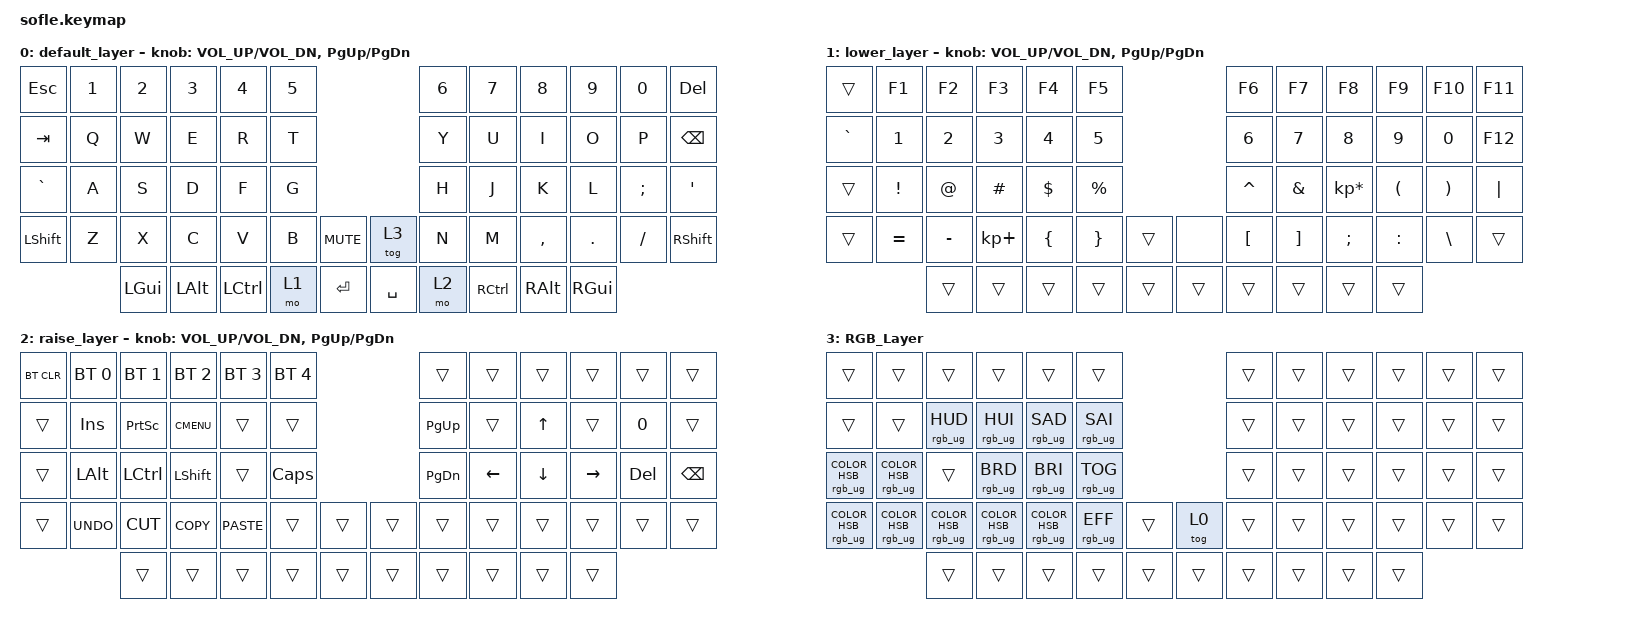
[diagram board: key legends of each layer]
/*
 * Copyright (c) 2020 The ZMK Contributors
 *
 * SPDX-License-Identifier: MIT
 */

#include <behaviors.dtsi>
#include <dt-bindings/zmk/bt.h>
#include <dt-bindings/zmk/keys.h>
#include <dt-bindings/zmk/rgb.h>

&led_strip { chain-length = <35>; };

&left_encoder { resolution = <2>; };

/ {
    keymap {
        compatible = "zmk,keymap";

        default_layer {
            // ------------------------------------------------------------------------------------------------------------
            // |  `    |  1  |  2  |  3   |  4   |  5   |                   |  6   |  7    |  8    |  9   |   0   |       |
            // |  ESC  |  Q  |  W  |  E   |  R   |  T   |                   |  Y   |  U    |  I    |  O   |   P   | BKSPC |
            // |  TAB  |  A  |  S  |  D   |  F   |  G   |                   |  H   |  J    |  K    |  L   |   ;   |   '   |
            // | SHIFT |  Z  |  X  |  C   |  V   |  B   |  MUTE  |  |       |  N   |  M    |  ,    |  .   |   /   | SHIFT |
            //               | GUI | ALT  | CTRL | LOWER|  ENTER |  | SPACE | RAISE| CTRL  | ALT   | GUI  |

            bindings = <
&kp ESC    &kp N1  &kp N2    &kp N3    &kp N4     &kp N5                           &kp N6  &kp N7     &kp N8     &kp N9    &kp N0    &kp DEL
&kp TAB    &kp Q   &kp W     &kp E     &kp R      &kp T                            &kp Y   &kp U      &kp I      &kp O     &kp P     &kp BSPC
&kp GRAVE  &kp A   &kp S     &kp D     &kp F      &kp G                            &kp H   &kp J      &kp K      &kp L     &kp SEMI  &kp SQT
&kp LSHFT  &kp Z   &kp X     &kp C     &kp V      &kp B   &kp C_MUTE    &tog 3     &kp N   &kp M      &kp COMMA  &kp DOT   &kp FSLH  &kp RSHFT
                   &kp LGUI  &kp LALT  &kp LCTRL  &mo 1   &kp RET       &kp SPACE  &mo 2   &kp RCTRL  &kp RALT   &kp RGUI
            >;

            sensor-bindings = <&inc_dec_kp C_VOL_UP C_VOL_DN &inc_dec_kp PG_UP PG_DN>;
        };

        lower_layer {
            // TODO: Some binds are waiting for shifted keycode support.
            // ------------------------------------------------------------------------------------------------------------
            // |       |  F1 |  F2 |  F3  |  F4  |  F5  |                   |  F6  |  F7   |  F8   |  F9  |  F10  |  F11  |
            // | `     |   1 |   2 |   3  |   4  |   5  |                   |   6  |   7   |   8   |   9  |    0  |  F12  |
            // |       |  !  |  @  |  #   |  $   |  %   |                   |  ^   |  &    |  *    |  (   |   )   |   |   |
            // |       |  =  |  -  |  +   |  {   |  }   |        |  |       |  [   |  ]    |  ;    |  :   |   \   |       |
            //               |     |      |      |      |        |  |       |      |       |       |      |

            bindings = <
&trans     &kp F1     &kp F2     &kp F3       &kp F4    &kp F5                       &kp F6     &kp F7    &kp F8           &kp F9     &kp F10   &kp F11
&kp GRAVE  &kp N1     &kp N2     &kp N3       &kp N4    &kp N5                       &kp N6     &kp N7    &kp N8           &kp N9     &kp N0    &kp F12
&trans     &kp EXCL   &kp AT     &kp HASH     &kp DLLR  &kp PRCNT                    &kp CARET  &kp AMPS  &kp KP_MULTIPLY  &kp LPAR   &kp RPAR  &kp PIPE
&trans     &kp EQUAL  &kp MINUS  &kp KP_PLUS  &kp LBRC  &kp RBRC   &trans    &none   &kp LBKT   &kp RBKT  &kp SEMI         &kp COLON  &kp BSLH  &trans
                      &trans     &trans       &trans    &trans     &trans    &trans  &trans     &trans    &trans           &trans
            >;

            sensor-bindings = <&inc_dec_kp C_VOL_UP C_VOL_DN &inc_dec_kp PG_UP PG_DN>;
        };

        raise_layer {
            // ------------------------------------------------------------------------------------------------------------
            // |BTCLR| BT1  | BT2  |  BT3  |  BT4  |  BT5 |                |      |      |       |      |       |       |
            // |     | INS  | PSCR | GUI   |       |      |                | PGUP |      |   ^   |      |       |       |
            // |     | ALT  | CTRL | SHIFT |       | CAPS |                | PGDN |   <- |   v   |  ->  |  DEL  | BKSPC |
            // |     | UNDO | CUT  | COPY  | PASTE |      |      |  |      |      |      |       |      |       |       |
            //              |      |       |       |      |      |  |      |      |      |       |      |

            bindings = <
&bt BT_CLR  &bt BT_SEL 0  &bt BT_SEL 1  &bt BT_SEL 2  &bt BT_SEL 3  &bt BT_SEL 4                    &trans     &trans    &trans    &trans     &trans   &trans
&trans      &kp INS       &kp PSCRN     &kp K_CMENU   &trans        &trans                          &kp PG_UP  &trans    &kp UP    &trans     &kp N0   &trans
&trans      &kp LALT      &kp LCTRL     &kp LSHFT     &trans        &kp CLCK                        &kp PG_DN  &kp LEFT  &kp DOWN  &kp RIGHT  &kp DEL  &kp BSPC
&trans      &kp K_UNDO    &kp K_CUT     &kp K_COPY    &kp K_PASTE   &trans        &trans    &trans  &trans     &trans    &trans    &trans     &trans   &trans
                          &trans        &trans        &trans        &trans        &trans    &trans  &trans     &trans    &trans    &trans
            >;

            sensor-bindings = <&inc_dec_kp C_VOL_UP C_VOL_DN &inc_dec_kp PG_UP PG_DN>;
        };

        RGB_Layer {
            bindings = <
&trans                            &trans                            &trans                           &trans                            &trans                          &trans                             &trans  &trans  &trans  &trans  &trans  &trans
&trans                            &trans                            &rgb_ug RGB_HUD                  &rgb_ug RGB_HUI                   &rgb_ug RGB_SAD                 &rgb_ug RGB_SAI                    &trans  &trans  &trans  &trans  &trans  &trans
&rgb_ug RGB_COLOR_HSB(58,97,47)   &rgb_ug RGB_COLOR_HSB(181,94,48)  &trans                           &rgb_ug RGB_BRD                   &rgb_ug RGB_BRI                 &rgb_ug RGB_TOG                    &trans  &trans  &trans  &trans  &trans  &trans
&rgb_ug RGB_COLOR_HSB(301,93,34)  &rgb_ug RGB_COLOR_HSB(114,93,50)  &rgb_ug RGB_COLOR_HSB(22,95,50)  &rgb_ug RGB_COLOR_HSB(238,96,49)  &rgb_ug RGB_COLOR_HSB(0,93,51)  &rgb_ug RGB_EFF  &trans    &tog 0  &trans  &trans  &trans  &trans  &trans  &trans
                                                                    &trans                           &trans                            &trans                          &trans           &trans    &trans  &trans  &trans  &trans  &trans
            >;
        };
    };
};
